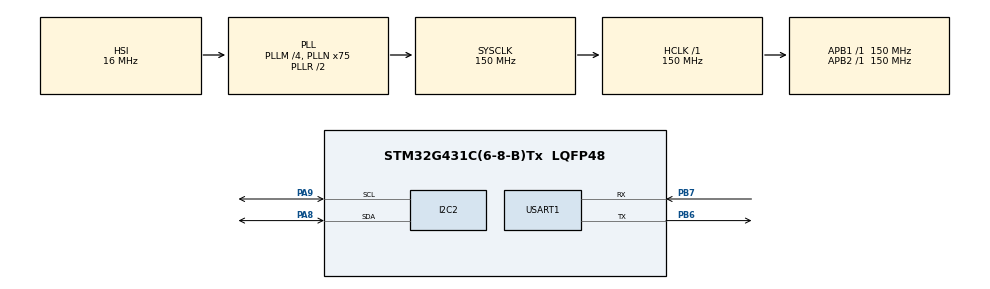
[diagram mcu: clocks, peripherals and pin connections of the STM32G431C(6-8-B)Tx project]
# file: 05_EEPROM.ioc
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I2C2.Analog_Filter=I2C_ANALOGFILTER_ENABLE
I2C2.Speed=50
I2C2.Timing=0xA03035D8
Mcu.Family=STM32G4
Mcu.Name=STM32G431C(6-8-B)Tx
Mcu.Package=LQFP48
NVIC.PriorityGroup=NVIC_PRIORITYGROUP_4
PA13.Mode=Serial_Wire
PA13.Signal=SYS_JTMS-SWDIO
PA14.Mode=Serial_Wire
PA14.Signal=SYS_JTCK-SWCLK
PA8.Mode=I2C
PA8.Signal=I2C2_SDA
PA9.Mode=I2C
PA9.Signal=I2C2_SCL
PB6.Mode=Asynchronous
PB6.Signal=USART1_TX
PB7.GPIO_PuPd=GPIO_PULLUP
PB7.Mode=Asynchronous
PB7.Signal=USART1_RX
PF0-OSC_IN.Mode=HSE-External-Clock-Source
PF0-OSC_IN.Signal=RCC_OSC_IN
ProjectManager.HeapSize=0x200
ProjectManager.StackSize=0x400
ProjectManager.TargetToolchain=STM32CubeIDE
RCC.ADC12Freq_Value=150000000
RCC.AHBFreq_Value=150000000
RCC.APB1Freq_Value=150000000
RCC.APB1TimFreq_Value=150000000
RCC.APB2Freq_Value=150000000
RCC.APB2TimFreq_Value=150000000
RCC.CortexFreq_Value=150000000
RCC.EXTERNAL_CLOCK_VALUE=12288000
RCC.HCLKFreq_Value=150000000
RCC.HSE_VALUE=8000000
RCC.HSI48_VALUE=48000000
RCC.HSI_VALUE=16000000
RCC.LSE_VALUE=32768
RCC.PLLM=RCC_PLLM_DIV4
RCC.PLLN=75
RCC.SYSCLKFreq_VALUE=150000000
RCC.SYSCLKSource=RCC_SYSCLKSOURCE_PLLCLK
RCC.USBFreq_Value=150000000
RCC.VCOOutputFreq_Value=300000000
USART1.VirtualMode-Asynchronous=VM_ASYNC
board=custom

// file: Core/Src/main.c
/* USER CODE BEGIN Header */
/**
  ******************************************************************************
  * @file           : main.c
  * @brief          : Main program body
  ******************************************************************************
  * @attention
  *
  * Copyright (c) 2024 STMicroelectronics.
  * All rights reserved.
  *
  * This software is licensed under terms that can be found in the LICENSE file
  * in the root directory of this software component.
  * If no LICENSE file comes with this software, it is provided AS-IS.
  *
  ******************************************************************************
  */
/* USER CODE END Header */
#include "main.h"

/* USER CODE BEGIN Includes */
 #include <stdio.h>

/* USER CODE END Includes */

I2C_HandleTypeDef hi2c2;

UART_HandleTypeDef huart1;

void SystemClock_Config(void);
static void MX_GPIO_Init(void);
static void MX_I2C2_Init(void);
static void MX_USART1_UART_Init(void);

/* USER CODE BEGIN 0 */
int __io_putchar(int ch)
{
	if(HAL_UART_Transmit(&huart1, (uint8_t *)&ch, 1, 10) != HAL_OK)
	{
		return -1;
	}
	return ch;
}

/* USER CODE END 0 */

int main(void)
{

  /* MCU Configuration--------------------------------------------------------*/

  /* Reset of all peripherals, Initializes the Flash interface and the Systick. */
  HAL_Init();

  /* Configure the system clock */
  SystemClock_Config();

  /* Initialize all configured peripherals */
  MX_GPIO_Init();
  MX_I2C2_Init();
  MX_USART1_UART_Init();
  /* USER CODE BEGIN 2 */
  printf("hello eeprom(i2c2)\r\n");
  uint8_t compare_fail=0;
  HAL_StatusTypeDef status;
  uint8_t tx_Buffer[32]; //32 bytes per page for write
  uint8_t rx_Buffer[32];

  for(uint16_t i=0;i<32;i++)
  {
	  tx_Buffer[i] = i;
  }
  status = HAL_I2C_Mem_Write(&hi2c2, 0xA0, 0x00, 2, tx_Buffer, 32, HAL_MAX_DELAY);
  if(status != HAL_OK)
  {
	  printf("eeprom write failed[%x]\r\n", status);
  }
  HAL_Delay(6); //Minimum time required to write 32 bytes (page) is 5ms
  status = HAL_I2C_Mem_Read(&hi2c2, 0xA0, 0x00, 2, rx_Buffer, 32, HAL_MAX_DELAY);
  if(status != HAL_OK)
  {
	printf("eeprom read failed[%x]\r\n", status);
  }

  //verify eeprom
  for(uint16_t i=0;i<32;i++)
  {
	  if(tx_Buffer[i] != rx_Buffer[i])
	  {
		  printf("eeprom verify failed %d[%02x:%02x]\r\n", i, tx_Buffer[i], rx_Buffer[i]);
		  compare_fail = 1;
		  break;
	  }
  }
  if (!compare_fail)
  {
	  printf("eeprom verify %s\r\n", rx_Buffer);
  }
  /* USER CODE END 2 */

  /* Infinite loop */
  while (1)
  {

  }
}

void SystemClock_Config(void)
{
  RCC_OscInitTypeDef RCC_OscInitStruct = {0};
  RCC_ClkInitTypeDef RCC_ClkInitStruct = {0};

  /** Configure the main internal regulator output voltage
  */
  HAL_PWREx_ControlVoltageScaling(PWR_REGULATOR_VOLTAGE_SCALE1);

  /** Initializes the RCC Oscillators according to the specified parameters
  * in the RCC_OscInitTypeDef structure.
  */
  RCC_OscInitStruct.OscillatorType = RCC_OSCILLATORTYPE_HSI;
  RCC_OscInitStruct.HSIState = RCC_HSI_ON;
  RCC_OscInitStruct.HSICalibrationValue = RCC_HSICALIBRATION_DEFAULT;
  RCC_OscInitStruct.PLL.PLLState = RCC_PLL_ON;
  RCC_OscInitStruct.PLL.PLLSource = RCC_PLLSOURCE_HSI;
  RCC_OscInitStruct.PLL.PLLM = RCC_PLLM_DIV4;
  RCC_OscInitStruct.PLL.PLLN = 75;
  RCC_OscInitStruct.PLL.PLLP = RCC_PLLP_DIV2;
  RCC_OscInitStruct.PLL.PLLQ = RCC_PLLQ_DIV2;
  RCC_OscInitStruct.PLL.PLLR = RCC_PLLR_DIV2;
  if (HAL_RCC_OscConfig(&RCC_OscInitStruct) != HAL_OK)
  {
    Error_Handler();
  }

  /** Initializes the CPU, AHB and APB buses clocks
  */
  RCC_ClkInitStruct.ClockType = RCC_CLOCKTYPE_HCLK|RCC_CLOCKTYPE_SYSCLK
                              |RCC_CLOCKTYPE_PCLK1|RCC_CLOCKTYPE_PCLK2;
  RCC_ClkInitStruct.SYSCLKSource = RCC_SYSCLKSOURCE_PLLCLK;
  RCC_ClkInitStruct.AHBCLKDivider = RCC_SYSCLK_DIV1;
  RCC_ClkInitStruct.APB1CLKDivider = RCC_HCLK_DIV1;
  RCC_ClkInitStruct.APB2CLKDivider = RCC_HCLK_DIV1;

  if (HAL_RCC_ClockConfig(&RCC_ClkInitStruct, FLASH_LATENCY_4) != HAL_OK)
  {
    Error_Handler();
  }
}

static void MX_I2C2_Init(void)
{

  hi2c2.Instance = I2C2;
  hi2c2.Init.Timing = 0xA03035D8;
  hi2c2.Init.OwnAddress1 = 0;
  hi2c2.Init.AddressingMode = I2C_ADDRESSINGMODE_7BIT;
  hi2c2.Init.DualAddressMode = I2C_DUALADDRESS_DISABLE;
  hi2c2.Init.OwnAddress2 = 0;
  hi2c2.Init.OwnAddress2Masks = I2C_OA2_NOMASK;
  hi2c2.Init.GeneralCallMode = I2C_GENERALCALL_DISABLE;
  hi2c2.Init.NoStretchMode = I2C_NOSTRETCH_DISABLE;
  if (HAL_I2C_Init(&hi2c2) != HAL_OK)
  {
    Error_Handler();
  }

  /** Configure Analogue filter
  */
  if (HAL_I2CEx_ConfigAnalogFilter(&hi2c2, I2C_ANALOGFILTER_ENABLE) != HAL_OK)
  {
    Error_Handler();
  }

  /** Configure Digital filter
  */
  if (HAL_I2CEx_ConfigDigitalFilter(&hi2c2, 0) != HAL_OK)
  {
    Error_Handler();
  }

}

static void MX_USART1_UART_Init(void)
{

  huart1.Instance = USART1;
  huart1.Init.BaudRate = 115200;
  huart1.Init.WordLength = UART_WORDLENGTH_8B;
  huart1.Init.StopBits = UART_STOPBITS_1;
  huart1.Init.Parity = UART_PARITY_NONE;
  huart1.Init.Mode = UART_MODE_TX_RX;
  huart1.Init.HwFlowCtl = UART_HWCONTROL_NONE;
  huart1.Init.OverSampling = UART_OVERSAMPLING_16;
  huart1.Init.OneBitSampling = UART_ONE_BIT_SAMPLE_DISABLE;
  huart1.Init.ClockPrescaler = UART_PRESCALER_DIV1;
  huart1.AdvancedInit.AdvFeatureInit = UART_ADVFEATURE_NO_INIT;
  if (HAL_UART_Init(&huart1) != HAL_OK)
  {
    Error_Handler();
  }
  if (HAL_UARTEx_SetTxFifoThreshold(&huart1, UART_TXFIFO_THRESHOLD_1_8) != HAL_OK)
  {
    Error_Handler();
  }
  if (HAL_UARTEx_SetRxFifoThreshold(&huart1, UART_RXFIFO_THRESHOLD_1_8) != HAL_OK)
  {
    Error_Handler();
  }
  if (HAL_UARTEx_DisableFifoMode(&huart1) != HAL_OK)
  {
    Error_Handler();
  }

}

static void MX_GPIO_Init(void)
{

  /* GPIO Ports Clock Enable */
  __HAL_RCC_GPIOF_CLK_ENABLE();
  __HAL_RCC_GPIOA_CLK_ENABLE();
  __HAL_RCC_GPIOB_CLK_ENABLE();

}

void Error_Handler(void)
{
  __disable_irq();
  while (1)
  {
  }
}
